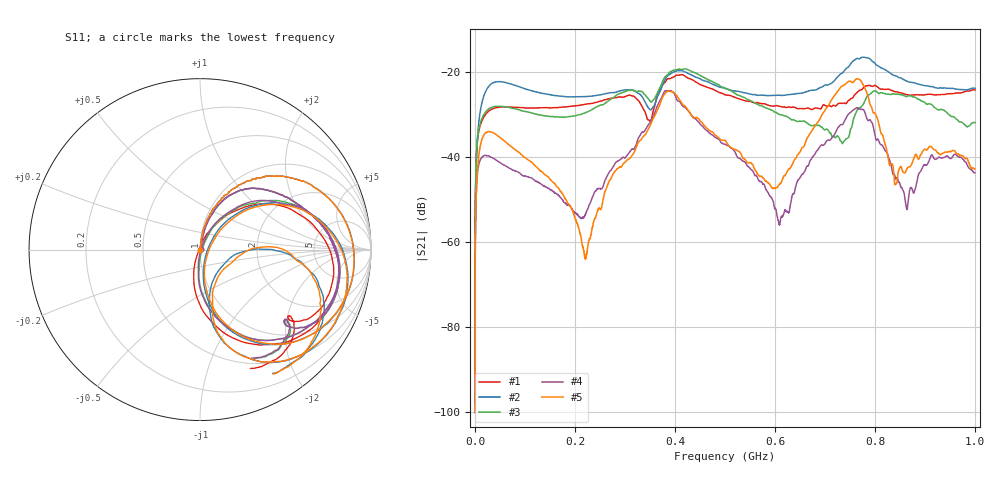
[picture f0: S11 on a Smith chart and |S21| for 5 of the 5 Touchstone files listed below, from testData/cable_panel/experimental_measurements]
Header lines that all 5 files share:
#  HZ  S  DB  R  50.00
! Rohde & Schwarz Vector Network Analyzer
! Rohde-Schwarz,ZNL6-2Port,1323001206101709,1.40.1.1-21.04.2.40
! freq[Hz]  db:S11  ang:S11  db:S21  ang:S21  db:S12  ang:S12  db:S22  ang:S22
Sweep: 10 kHz to 1 GHz
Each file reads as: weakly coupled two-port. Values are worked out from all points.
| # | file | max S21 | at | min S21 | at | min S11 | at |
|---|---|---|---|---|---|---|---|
| 1 | Ch1P1Ch2P4-SParameters-7427009-Middle-Segmented.s2p | -20.60 dB | 413 MHz | -87.0 dB | 10 kHz | -48.6 dB | 10 kHz |
| 2 | Ch1P1Ch2P4-SParameters-Segmented.s2p | -16.49 dB | 777.4 MHz | -87.1 dB | 10 kHz | -50.9 dB | 10 kHz |
| 3 | Ch1P2Ch2P4-SParameters-7427009-Middle-Segmented.s2p | -19.24 dB | 419.7 MHz | -89.9 dB | 10.9 kHz | -48.5 dB | 10 kHz |
| 4 | Ch1P2Ch2P6-SParameters-7427009-Middle-Segmented.s2p | -24.34 dB | 386.3 MHz | -100.2 dB | 10.9 kHz | -48.4 dB | 10 kHz |
| 5 | Ch1P2Ch2P6-SParameters-Segmented.s2p | -21.55 dB | 765.4 MHz | -99.9 dB | 10.9 kHz | -50.7 dB | 10 kHz |
